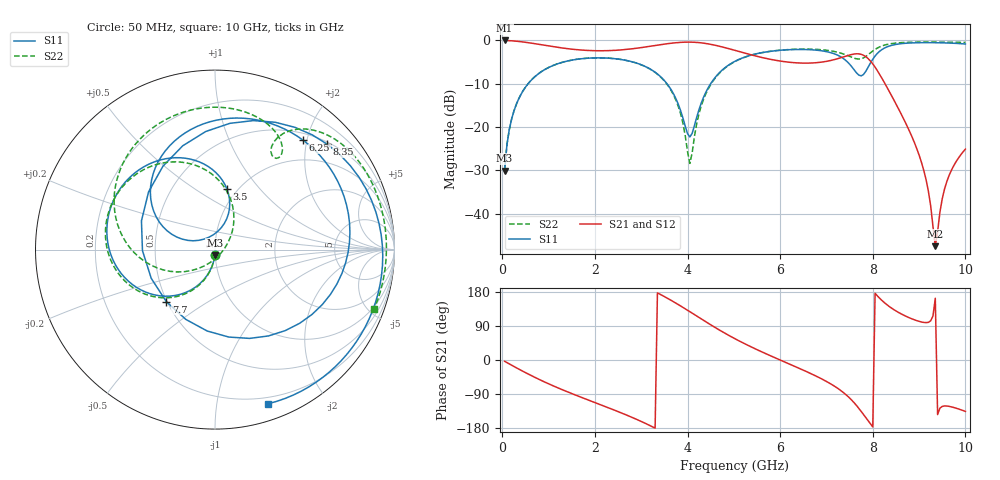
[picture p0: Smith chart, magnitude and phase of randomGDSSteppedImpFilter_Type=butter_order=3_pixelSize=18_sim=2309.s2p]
! freq	dB(S11)	phase(S11)	dB(S12)	phase(S12)
!  dB(S21)	phase(S21)	dB(S22)	phase(S22)
!S-par simulation data
#  GHz  S  DB  R 50
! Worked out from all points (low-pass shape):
!   200 points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, 50 MHz to 10 GHz, reference 50 ohm
!   highest |S21| = -0.02 dB at 50 MHz (marker M1); lowest = -47.5 dB at 9.35 GHz (marker M2)
!   |S21| within 3 dB of the highest: start of sweep to 5.264 GHz
!   lowest |S11| = -30.0 dB at 50 MHz (marker M3), VSWR 1.07, Z = 49.8 - j3.14 ohm
!   |S11| at or under -10 dB: start of sweep to 558.1 MHz; 3.556 GHz to 4.499 GHz (943.1 MHz wide, 23.4 % of centre)
!   |S22| runs from -30.0 to -0.4 dB; largest |S21 - S12| = 0
!   S11 on the Smith chart (normalised r, x): 50 MHz: 1.00, -0.06; 3.5 GHz: 0.90, +0.68; 6.25 GHz: 0.61, +1.93; 7.7 GHz: 0.50, -0.34; 8.35 GHz: 0.54, +2.42; 10 GHz: 0.14, -1.39
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0.05  -30.03 -92.0  -0.02 -3.5  -0.02 -3.5  -30.03 -91.9
0.2  -18.21 -103.6  -0.10 -13.7  -0.10 -13.7  -18.21 -103.1
0.5  -10.81 -124.2  -0.44 -33.3  -0.44 -33.3  -10.80 -122.8
1.75  -4.19 166.8  -2.27 -100.6  -2.27 -100.6  -4.19 171.3
2.7  -4.68 120.9  -2.07 -146.1  -2.07 -146.1  -4.68 127.0
3.4  -8.21 84.0  -1.02 173.9  -1.02 173.9  -8.27 86.8
3.5  -9.28 78.8  -0.86 167.4  -0.86 167.4  -9.37 79.7
3.85  -16.19 70.4  -0.46 142.6  -0.46 142.6  -16.93 47.1
4.05  -22.29 115.9  -0.40 127.5  -0.40 127.5  -28.39 -40.2
4.4  -11.87 160.5  -0.73 100.5  -0.73 100.5  -12.22 -149.5
5.05  -4.69 122.9  -2.39 54.5  -2.39 54.5  -4.73 162.3
6.25  -2.13 51.1  -5.10 -13.3  -5.10 -13.3  -2.08 101.9
6.7  -2.19 22.2  -5.21 -38.0  -5.21 -38.0  -2.04 82.9
7.25  -3.46 -27.2  -4.20 -75.3  -4.20 -75.3  -2.76 61.4
7.7  -8.02 -133.0  -3.11 -127.8  -3.11 -127.8  -4.31 57.4
7.85  -7.13 158.7  -3.76 -152.3  -3.76 -152.3  -3.71 61.2
8.05  -3.61 94.5  -6.18 176.1  -6.18 176.1  -2.09 57.6
8.35  -1.33 43.2  -11.66 141.7  -11.66 141.7  -0.84 42.8
9.05  -0.53 -15.1  -28.09 100.3  -28.09 100.3  -0.40 12.8
9.35  -0.54 -32.9  -47.48 162.9  -47.48 162.9  -0.40 1.8
9.6  -0.60 -47.0  -32.54 -121.5  -32.54 -121.5  -0.42 -7.0
10  -0.84 -71.1  -25.09 -135.6  -25.09 -135.6  -0.47 -20.5
